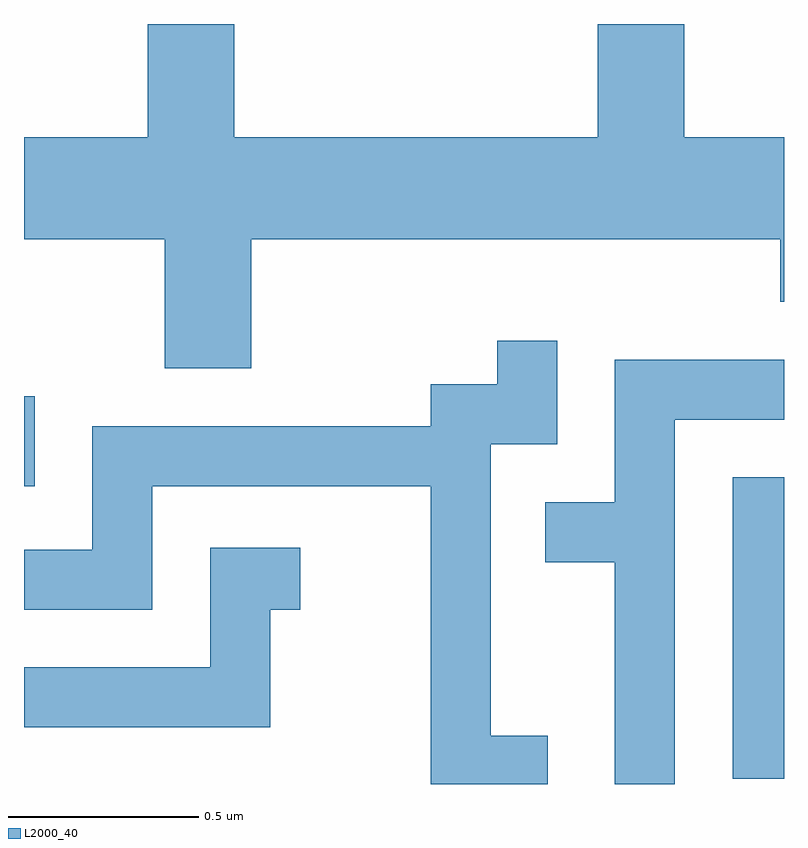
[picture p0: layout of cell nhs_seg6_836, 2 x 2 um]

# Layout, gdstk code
import gdstk
lib = gdstk.Library(unit=1e-6, precision=1e-09)
def R(c, l, rs):  # rectangles x0, y0, x1, y1
    for r in rs: c.add(gdstk.rectangle(r[:2], r[2:], *l))
def P(c, l, *ps):  # polygons
    for p in ps: c.add(gdstk.Polygon(p, *l))
L2000_40 = (2000, 40)

nhs_seg6_836 = lib.new_cell('nhs_seg6_836')
R(nhs_seg6_836, L2000_40, [(193.476,1544.176,193.611,1544.969), (191.611,1544.946,191.639,1545.183)])
P(nhs_seg6_836, L2000_40, [(192.209,1545.596),(193.601,1545.596),(193.601,1545.431),(193.611,1545.431),(193.611,1545.864),(193.349,1545.864),(193.349,1546.162),(193.121,1546.162),(193.121,1545.864),(192.164,1545.864),(192.164,1546.162),(191.936,1546.162),(191.936,1545.864),(191.611,1545.864),(191.611,1545.596),(191.981,1545.596),(191.981,1545.256),(192.209,1545.256)],
  [(192.989,1544.289),(192.839,1544.289),(192.839,1545.056),(193.014,1545.056),(193.014,1545.328),(192.856,1545.328),(192.856,1545.214),(192.681,1545.214),(192.681,1545.104),(191.791,1545.104),(191.791,1544.779),(191.611,1544.779),(191.611,1544.621),(191.949,1544.621),(191.949,1544.946),(192.681,1544.946),(192.681,1544.162),(192.989,1544.162)],
  [(193.324,1545.121),(193.611,1545.121),(193.611,1545.279),(193.166,1545.279),(193.166,1544.904),(192.983,1544.904),(192.983,1544.746),(193.166,1544.746),(193.166,1544.162),(193.324,1544.162)],
  [(192.259,1544.621),(192.338,1544.621),(192.338,1544.784),(192.101,1544.784),(192.101,1544.469),(191.611,1544.469),(191.611,1544.311),(192.259,1544.311)])

lib.write_gds('nhs_seg6_836.gds')
